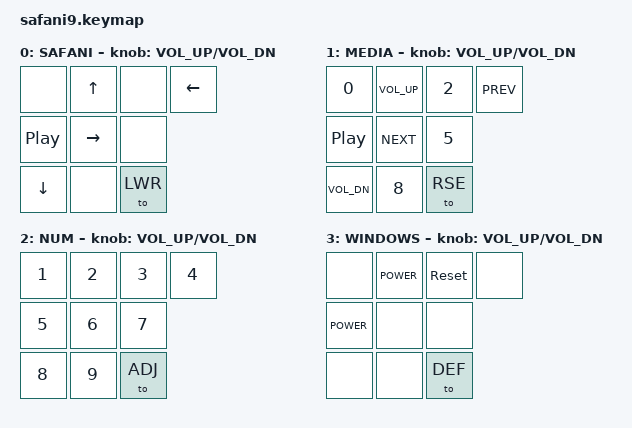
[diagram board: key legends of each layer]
#include <behaviors.dtsi>
#include <dt-bindings/zmk/keys.h>

/* Definisi nomor layer */
#define DEF 0
#define LWR 1
#define RSE 2
#define ADJ 3

/ {
    keymap {
        compatible = "zmk,keymap";

        /* ================= LAYER 0 (SAFANI) ================= */
        default_layer {
            display-name = "SAFANI";

            bindings = <
                &none                &kp UP_ARROW       &none
                &kp LEFT_ARROW       &kp C_PLAY_PAUSE   &kp RIGHT_ARROW
                &none                &kp DOWN_ARROW     &none
                &to LWR     /* Tekan encoder -> pindah ke Layer 1 */
            >;

            sensor-bindings = <
                &inc_dec_kp C_VOL_UP C_VOL_DN
            >;
        };

        /* ================= LAYER 1 (LOWER) ================= */
        lower_layer {
            display-name = "MEDIA";

            bindings = <
                &kp 0           &kp C_VOL_UP      &kp 2
                &kp C_PREV      &kp C_PLAY_PAUSE  &kp C_NEXT
                &kp 5           &kp C_VOL_DN      &kp 8
                &to RSE     /* Tekan encoder -> pindah ke Layer 2 */
            >;

            sensor-bindings = <
                &inc_dec_kp C_VOL_UP C_VOL_DN
            >;
        };

        /* ================= LAYER 2 (RAISE) ================= */
        raise_layer {
            display-name = "NUM";

            bindings = <
                &kp 1    &kp 2      &kp 3
                &kp 4    &kp 5      &kp 6
                &kp 7    &kp 8      &kp 9
                &to ADJ     /* Tekan encoder -> pindah ke Layer 3 */
            >;

            sensor-bindings = <
                &inc_dec_kp C_VOL_UP C_VOL_DN
            >;
        };

        /* ================= LAYER 3 (ADJUST) ================= */
        adjust_layer {
            display-name = "WINDOWS";

            bindings = <
                &none       &kp K_POWER       &sys_reset
                &none       &kp C_POWER       &none
                &none       &none       &none
                &to DEF     /* Tekan encoder -> kembali ke Layer 0 (SAFANI) */
            >;

            sensor-bindings = <
                &inc_dec_kp C_VOL_UP C_VOL_DN
            >;
        };
    };
};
